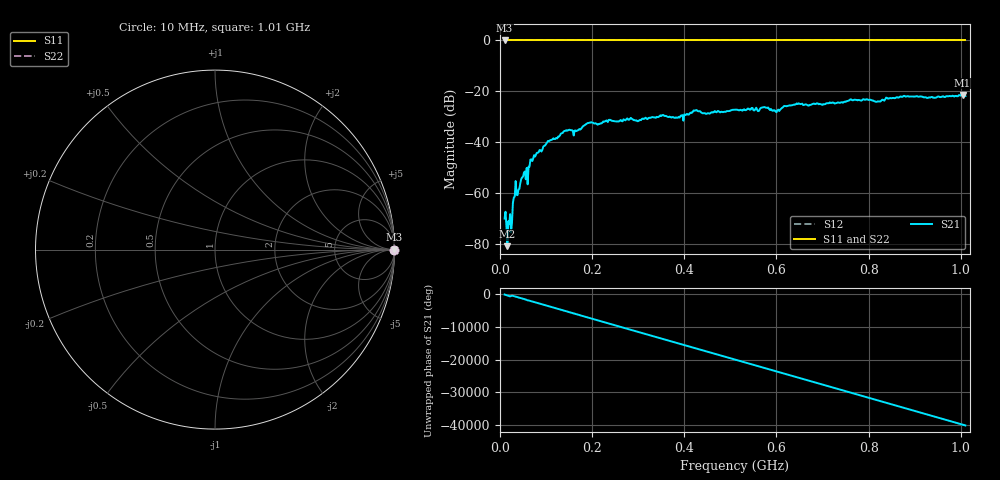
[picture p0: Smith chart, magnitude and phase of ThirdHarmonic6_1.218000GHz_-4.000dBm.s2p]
! 8/16/2025 12:44:58 PM
! C:\ANRITSUVNA\TEMP\TEMP.S2P
! CHANNEL.1
! TR.MEASUREMENT
! RAW.DATA
! RF.CORRECTION.OFF
! AVERAGING.OFF
! IF.BANDWIDTH: 5KHZ
! SWEEPTYPE:  FREQ.SWEEP(Linear)
! Reference Plane Port Info
! PORT:  PORT1  PORT2
! DISTANCE:  0  m  0  m
! TIME:  0  s  0  s
! PHASE.OFFSET:  0  deg.  0  deg.
! LOSS:  0  dB  0  dB
! REF.LOSS:  0  dB  0  dB
! REF.FREQ:  0  Hz  0  Hz
! Power Info
! POWER:  -20  dBm  -20  dBm
! EFF.POWER:  -20  dBm  -20  dBm
! SOURCE.ATTEN:  0  dB  0  dB
! TEST.ATTEN:  0  dB  0  dB
# GHZ S RI R 50.0
! FREQ.GHZ  S11RE  S11IM  S21RE  S21IM  S12RE  S12IM  S22RE  S22IM
!; PortSelection: Port_12
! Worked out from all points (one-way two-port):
!   501 points, 10 MHz to 1.01 GHz, reference 50 ohm
!   highest |S21| = -21.40 dB at 1.004 GHz (marker M1); lowest = -80.9 dB at 16 MHz (marker M2)
!   lowest |S11| = 0.0 dB at 10 MHz (marker M3)
!   |S11| at or under -10 dB: nowhere
!   |S22| runs from 0.0 to 0.0 dB; largest |S21 - S12| = 1.1
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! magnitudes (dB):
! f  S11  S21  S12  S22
! 10 MHz  0.0  -70.1  0.0  0.0
! 16 MHz  0.0  -80.9  0.0  0.0
! 20 MHz  0.0  -72.3  0.0  0.0
! 28 MHz  0.0  -64.0  0.0  0.0
! 32 MHz  0.0  -61.4  0.0  0.0
! 40 MHz  0.0  -58.8  0.0  0.0
! 50 MHz  0.0  -53.6  0.0  0.0
! 60 MHz  0.0  -56.6  0.0  0.0
! 70 MHz  0.0  -47.4  0.0  0.0
! 104 MHz  0.0  -39.6  0.0  0.0
! 140 MHz  0.0  -35.6  0.0  0.0
! 178 MHz  0.0  -34.2  0.0  0.0
! 194 MHz  0.0  -32.4  0.0  0.0
! 344 MHz  0.0  -30.1  0.0  0.0
! 510 MHz  0.0  -27.2  0.0  0.0
! 574 MHz  0.0  -26.2  0.0  0.0
! 602 MHz  0.0  -27.5  0.0  0.0
! 646 MHz  0.0  -25.0  0.0  0.0
! 678 MHz  0.0  -25.0  0.0  0.0
! 844 MHz  0.0  -22.9  0.0  0.0
! 1.004 GHz  0.0  -21.4  0.0  0.0
! 1.01 GHz  0.0  -21.9  0.0  0.0
